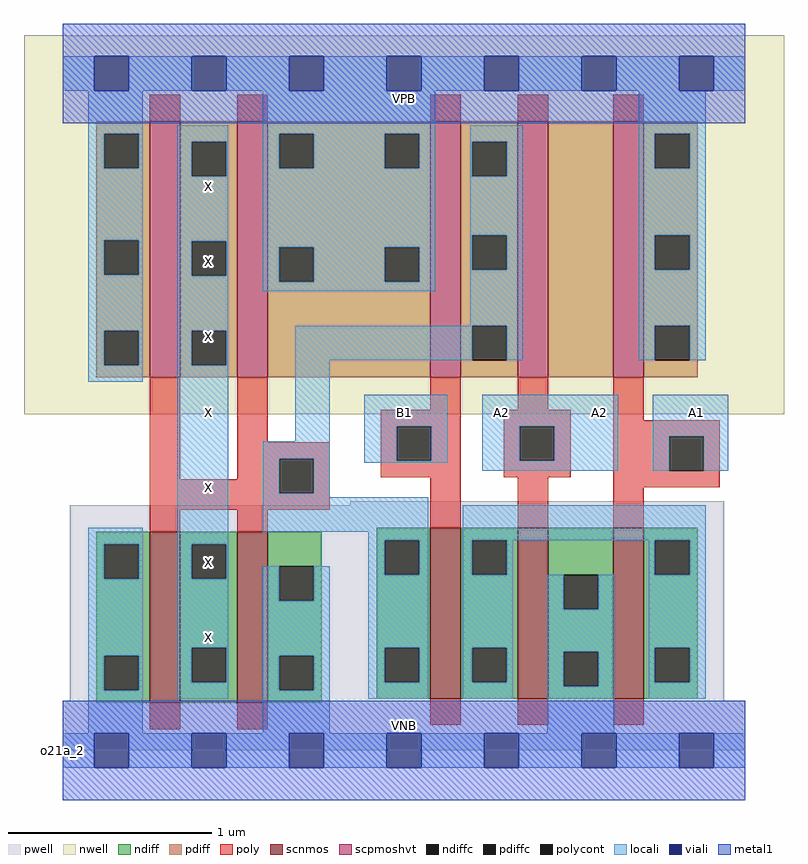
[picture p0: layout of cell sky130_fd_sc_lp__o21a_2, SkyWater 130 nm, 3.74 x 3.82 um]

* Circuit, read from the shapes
.subckt sky130_fd_sc_lp__o21a_2 A1 A2 B1 VGND VNB VPB VPWR X
XM1 X n1 VGND VNB sky130_fd_pr__nfet_01v8 w=0.84 l=0.15 m=2
XM2 n2 B1 n1 VNB sky130_fd_pr__nfet_01v8 w=0.84 l=0.15
XM3 VGND A2 n2 VNB sky130_fd_pr__nfet_01v8 w=0.84 l=0.15
XM4 n2 A1 VGND VNB sky130_fd_pr__nfet_01v8 w=0.84 l=0.15
XM5 X n1 VPWR VPB sky130_fd_pr__pfet_01v8_hvt w=1.26 l=0.15 m=2
XM6 n1 B1 VPWR VPB sky130_fd_pr__pfet_01v8_hvt w=1.26 l=0.15
XM7 n3 A2 n1 VPB sky130_fd_pr__pfet_01v8_hvt w=1.26 l=0.15
XM8 VPWR A1 n3 VPB sky130_fd_pr__pfet_01v8_hvt w=1.26 l=0.15
.ends

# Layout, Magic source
magic
tech sky130A
magscale 1 2
<< nwell >>
rect -38 331 710 704
<< pwell >>
rect 283 241 651 245
rect 7 49 651 241
rect 0 0 672 49
<< scnmos >>
rect 86 47 116 215
rect 172 47 202 215
rect 362 51 392 219
rect 448 51 478 219
rect 542 51 572 219
<< scpmoshvt >>
rect 86 367 116 619
rect 172 367 202 619
rect 362 367 392 619
rect 448 367 478 619
rect 542 367 572 619
<< ndiff >>
rect 33 203 86 215
rect 33 169 41 203
rect 75 169 86 203
rect 33 93 86 169
rect 33 59 41 93
rect 75 59 86 93
rect 33 47 86 59
rect 116 203 172 215
rect 116 169 127 203
rect 161 169 172 203
rect 116 101 172 169
rect 116 67 127 101
rect 161 67 172 101
rect 116 47 172 67
rect 202 181 255 215
rect 202 147 213 181
rect 247 147 255 181
rect 202 93 255 147
rect 202 59 213 93
rect 247 59 255 93
rect 202 47 255 59
rect 309 207 362 219
rect 309 173 317 207
rect 351 173 362 207
rect 309 101 362 173
rect 309 67 317 101
rect 351 67 362 101
rect 309 51 362 67
rect 392 207 448 219
rect 392 173 403 207
rect 437 173 448 207
rect 392 101 448 173
rect 392 67 403 101
rect 437 67 448 101
rect 392 51 448 67
rect 478 173 542 219
rect 478 139 493 173
rect 527 139 542 173
rect 478 97 542 139
rect 478 63 493 97
rect 527 63 542 97
rect 478 51 542 63
rect 572 207 625 219
rect 572 173 583 207
rect 617 173 625 207
rect 572 101 625 173
rect 572 67 583 101
rect 617 67 625 101
rect 572 51 625 67
<< pdiff >>
rect 33 607 86 619
rect 33 573 41 607
rect 75 573 86 607
rect 33 502 86 573
rect 33 468 41 502
rect 75 468 86 502
rect 33 413 86 468
rect 33 379 41 413
rect 75 379 86 413
rect 33 367 86 379
rect 116 599 172 619
rect 116 565 127 599
rect 161 565 172 599
rect 116 501 172 565
rect 116 467 127 501
rect 161 467 172 501
rect 116 413 172 467
rect 116 379 127 413
rect 161 379 172 413
rect 116 367 172 379
rect 202 607 362 619
rect 202 573 213 607
rect 247 573 317 607
rect 351 573 362 607
rect 202 495 362 573
rect 202 461 213 495
rect 247 461 317 495
rect 351 461 362 495
rect 202 367 362 461
rect 392 599 448 619
rect 392 565 403 599
rect 437 565 448 599
rect 392 507 448 565
rect 392 473 403 507
rect 437 473 448 507
rect 392 418 448 473
rect 392 384 403 418
rect 437 384 448 418
rect 392 367 448 384
rect 478 367 542 619
rect 572 607 625 619
rect 572 573 583 607
rect 617 573 625 607
rect 572 507 625 573
rect 572 473 583 507
rect 617 473 625 507
rect 572 418 625 473
rect 572 384 583 418
rect 617 384 625 418
rect 572 367 625 384
<< ndiffc >>
rect 41 169 75 203
rect 41 59 75 93
rect 127 169 161 203
rect 127 67 161 101
rect 213 147 247 181
rect 213 59 247 93
rect 317 173 351 207
rect 317 67 351 101
rect 403 173 437 207
rect 403 67 437 101
rect 493 139 527 173
rect 493 63 527 97
rect 583 173 617 207
rect 583 67 617 101
<< pdiffc >>
rect 41 573 75 607
rect 41 468 75 502
rect 41 379 75 413
rect 127 565 161 599
rect 127 467 161 501
rect 127 379 161 413
rect 213 573 247 607
rect 317 573 351 607
rect 213 461 247 495
rect 317 461 351 495
rect 403 565 437 599
rect 403 473 437 507
rect 403 384 437 418
rect 583 573 617 607
rect 583 473 617 507
rect 583 384 617 418
<< poly >>
rect 86 619 116 645
rect 172 619 202 645
rect 362 619 392 645
rect 448 619 478 645
rect 542 619 572 645
rect 86 267 116 367
rect 172 303 202 367
rect 362 335 392 367
rect 448 335 478 367
rect 313 319 392 335
rect 172 287 263 303
rect 172 267 213 287
rect 86 253 213 267
rect 247 253 263 287
rect 313 285 329 319
rect 363 285 392 319
rect 313 269 392 285
rect 434 319 500 335
rect 434 285 450 319
rect 484 285 500 319
rect 434 269 500 285
rect 542 325 572 367
rect 542 309 647 325
rect 542 275 597 309
rect 631 275 647 309
rect 86 237 263 253
rect 86 215 116 237
rect 172 215 202 237
rect 362 219 392 269
rect 448 219 478 269
rect 542 259 647 275
rect 542 219 572 259
rect 86 21 116 47
rect 172 21 202 47
rect 362 25 392 51
rect 448 25 478 51
rect 542 25 572 51
<< polycont >>
rect 213 253 247 287
rect 329 285 363 319
rect 450 285 484 319
rect 597 275 631 309
<< locali >>
rect 0 649 31 683
rect 65 649 127 683
rect 161 649 223 683
rect 257 649 319 683
rect 353 649 415 683
rect 449 649 511 683
rect 545 649 607 683
rect 641 649 672 683
rect 25 607 79 649
rect 25 573 41 607
rect 75 573 79 607
rect 25 502 79 573
rect 25 468 41 502
rect 75 468 79 502
rect 25 413 79 468
rect 25 379 41 413
rect 75 379 79 413
rect 25 363 79 379
rect 113 599 163 615
rect 113 565 127 599
rect 161 565 163 599
rect 113 501 163 565
rect 113 467 127 501
rect 161 467 163 501
rect 113 413 163 467
rect 197 607 367 649
rect 197 573 213 607
rect 247 573 317 607
rect 351 573 367 607
rect 197 495 367 573
rect 197 461 213 495
rect 247 461 317 495
rect 351 461 367 495
rect 197 452 367 461
rect 401 599 453 615
rect 401 565 403 599
rect 437 565 453 599
rect 401 507 453 565
rect 401 473 403 507
rect 437 473 453 507
rect 401 418 453 473
rect 113 379 127 413
rect 161 379 163 413
rect 25 203 79 219
rect 25 169 41 203
rect 75 169 79 203
rect 25 93 79 169
rect 25 59 41 93
rect 75 59 79 93
rect 25 17 79 59
rect 113 203 163 379
rect 229 384 403 418
rect 437 384 453 418
rect 567 607 633 649
rect 567 573 583 607
rect 617 573 633 607
rect 567 507 633 573
rect 567 473 583 507
rect 617 473 633 507
rect 567 418 633 473
rect 567 384 583 418
rect 617 384 633 418
rect 229 304 263 384
rect 197 287 263 304
rect 197 253 213 287
rect 247 253 263 287
rect 297 319 379 350
rect 297 285 329 319
rect 363 285 379 319
rect 297 283 379 285
rect 413 319 547 350
rect 413 285 450 319
rect 484 285 547 319
rect 413 275 547 285
rect 581 309 655 350
rect 581 275 597 309
rect 631 275 655 309
rect 197 249 263 253
rect 197 215 360 249
rect 113 169 127 203
rect 161 169 163 203
rect 301 207 360 215
rect 113 101 163 169
rect 113 67 127 101
rect 161 67 163 101
rect 113 51 163 67
rect 197 147 213 181
rect 247 147 263 181
rect 197 93 263 147
rect 197 59 213 93
rect 247 59 263 93
rect 197 17 263 59
rect 301 173 317 207
rect 351 173 360 207
rect 301 101 360 173
rect 301 67 317 101
rect 351 67 360 101
rect 301 51 360 67
rect 394 207 633 241
rect 394 173 403 207
rect 437 173 443 207
rect 577 173 583 207
rect 617 173 633 207
rect 394 101 443 173
rect 394 67 403 101
rect 437 67 443 101
rect 394 51 443 67
rect 477 139 493 173
rect 527 139 543 173
rect 477 97 543 139
rect 477 63 493 97
rect 527 63 543 97
rect 477 17 543 63
rect 577 101 633 173
rect 577 67 583 101
rect 617 67 633 101
rect 577 51 633 67
rect 0 -17 31 17
rect 65 -17 127 17
rect 161 -17 223 17
rect 257 -17 319 17
rect 353 -17 415 17
rect 449 -17 511 17
rect 545 -17 607 17
rect 641 -17 672 17
<< viali >>
rect 31 649 65 683
rect 127 649 161 683
rect 223 649 257 683
rect 319 649 353 683
rect 415 649 449 683
rect 511 649 545 683
rect 607 649 641 683
rect 31 -17 65 17
rect 127 -17 161 17
rect 223 -17 257 17
rect 319 -17 353 17
rect 415 -17 449 17
rect 511 -17 545 17
rect 607 -17 641 17
<< metal1 >>
rect 0 683 672 715
rect 0 649 31 683
rect 65 649 127 683
rect 161 649 223 683
rect 257 649 319 683
rect 353 649 415 683
rect 449 649 511 683
rect 545 649 607 683
rect 641 649 672 683
rect 0 617 672 649
rect 0 17 672 49
rect 0 -17 31 17
rect 65 -17 127 17
rect 161 -17 223 17
rect 257 -17 319 17
rect 353 -17 415 17
rect 449 -17 511 17
rect 545 -17 607 17
rect 641 -17 672 17
rect 0 -49 672 -17
<< labels >>
flabel pwell s 0 0 672 49 0 FreeSans 200 0 0 0 VNB
port 5 nsew ground bidirectional
flabel nwell s 0 617 672 666 0 FreeSans 200 0 0 0 VPB
port 6 nsew power bidirectional
rlabel comment s 0 0 0 0 4 o21a_2
flabel metal1 s 0 617 672 666 0 FreeSans 340 0 0 0 VPWR
port 7 nsew power bidirectional
flabel metal1 s 0 0 672 49 0 FreeSans 340 0 0 0 VGND
port 4 nsew ground bidirectional
flabel locali s 127 94 161 128 0 FreeSans 340 0 0 0 X
port 8 nsew signal output
flabel locali s 127 168 161 202 0 FreeSans 340 0 0 0 X
port 8 nsew signal output
flabel locali s 127 242 161 276 0 FreeSans 340 0 0 0 X
port 8 nsew signal output
flabel locali s 127 316 161 350 0 FreeSans 340 0 0 0 X
port 8 nsew signal output
flabel locali s 127 390 161 424 0 FreeSans 340 0 0 0 X
port 8 nsew signal output
flabel locali s 127 464 161 498 0 FreeSans 340 0 0 0 X
port 8 nsew signal output
flabel locali s 127 538 161 572 0 FreeSans 340 0 0 0 X
port 8 nsew signal output
flabel locali s 415 316 449 350 0 FreeSans 340 0 0 0 A2
port 2 nsew signal input
flabel locali s 511 316 545 350 0 FreeSans 340 0 0 0 A2
port 2 nsew signal input
flabel locali s 319 316 353 350 0 FreeSans 340 0 0 0 B1
port 3 nsew signal input
flabel locali s 607 316 641 350 0 FreeSans 340 0 0 0 A1
port 1 nsew signal input
<< properties >>
string LEFsite unit
string LEFclass CORE
string FIXED_BBOX 0 0 672 666
string GDS_FILE $PDKPATH/libs.ref/sky130_fd_sc_lp/gds/sky130_fd_sc_lp.gds
string LEFsymmetry X Y R90
string GDS_END 825932
string GDS_START 818758
<< end >>
